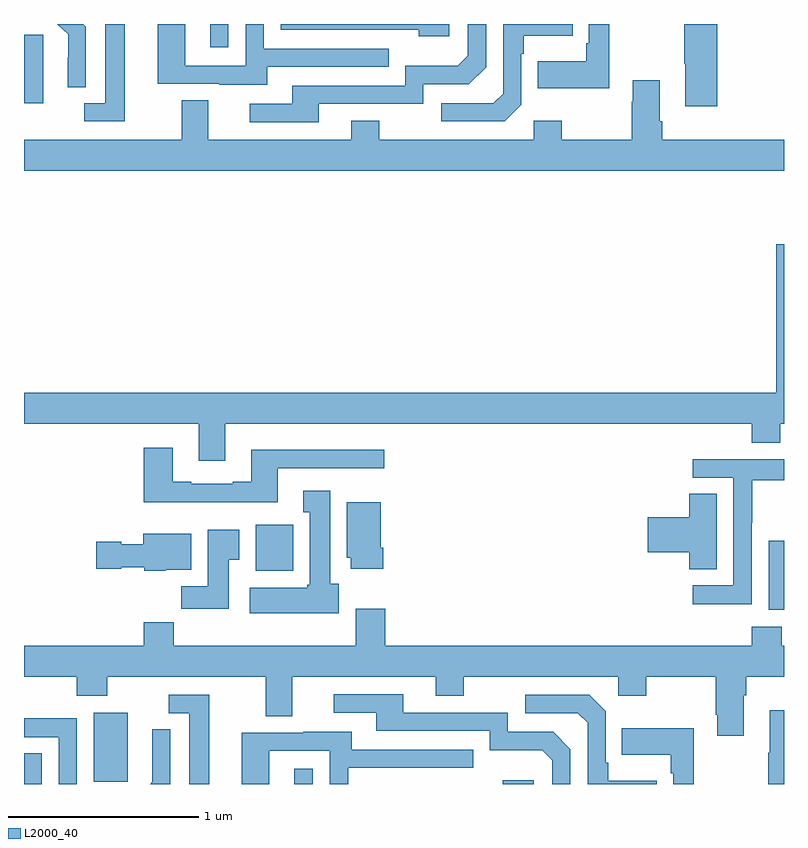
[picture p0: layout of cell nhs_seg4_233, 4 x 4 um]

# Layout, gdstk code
import gdstk
lib = gdstk.Library(unit=1e-6, precision=1e-09)
def R(c, l, rs):  # rectangles x0, y0, x1, y1
    for r in rs: c.add(gdstk.rectangle(r[:2], r[2:], *l))
def P(c, l, *ps):  # polygons
    for p in ps: c.add(gdstk.Polygon(p, *l))
L2000_40 = (2000, 40)

nhs_seg4_233 = lib.new_cell('nhs_seg4_233')
R(nhs_seg4_233, L2000_40, [(121,818.9,121.093,819.062), (122.423,818.9,122.52,818.98), (123.521,818.9,123.682,818.92), (121.367,818.913,121.546,819.274), (124.919,819.818,125,820.179), (122.219,820.022,122.416,820.264), (121,822.482,121.102,822.843), (121.979,822.777,122.076,822.9)])
P(nhs_seg4_233, L2000_40, [(123.238,822.9),(122.352,822.9),(122.352,822.87),(123.077,822.87),(123.077,822.836),(123.238,822.836)],
  [(121.326,822.886),(121.312,822.9),(121.176,822.9),(121.232,822.845),(121.232,822.722),(121.23,822.722),(121.23,822.568),(121.326,822.568)],
  [(121.531,822.9),(121.427,822.9),(121.427,822.483),(121.317,822.483),(121.317,822.387),(121.531,822.387)],
  [(123.618,822.474),(123.618,822.743),(123.631,822.743),(123.631,822.839),(123.887,822.839),(123.887,822.9),(123.522,822.9),(123.522,822.534),(123.471,822.483),(123.195,822.483),(123.195,822.387),(123.531,822.387)],
  [(124.649,822.9),(124.474,822.9),(124.474,822.691),(124.481,822.691),(124.481,822.468),(124.649,822.468)],
  [(122.551,822.48),(123.102,822.48),(123.102,822.582),(123.342,822.582),(123.432,822.672),(123.432,822.9),(123.336,822.9),(123.336,822.732),(123.283,822.679),(123.006,822.679),(123.006,822.576),(122.411,822.576),(122.411,822.48),(122.187,822.48),(122.187,822.384),(122.551,822.384)],
  [(122.281,822.675),(122.921,822.675),(122.921,822.771),(122.262,822.771),(122.262,822.9),(122.166,822.9),(122.166,822.681),(121.848,822.681),(121.848,822.9),(121.703,822.9),(121.703,822.585),(122.027,822.585),(122.027,822.581),(122.281,822.581)],
  [(124.081,822.9),(123.972,822.9),(123.972,822.799),(123.96,822.799),(123.96,822.703),(123.703,822.703),(123.703,822.563),(124.081,822.563)],
  [(125,822.292),(124.358,822.292),(124.358,822.388),(124.345,822.388),(124.345,822.604),(124.205,822.604),(124.205,822.491),(124.198,822.491),(124.198,822.292),(123.831,822.292),(123.831,822.391),(123.684,822.391),(123.684,822.292),(122.871,822.292),(122.871,822.391),(122.723,822.391),(122.723,822.292),(121.969,822.292),(121.969,822.5),(121.829,822.5),(121.829,822.292),(121,822.292),(121,822.128),(125,822.128)],
  [(122.059,820.796),(124.829,820.796),(124.829,820.697),(124.981,820.697),(124.981,820.796),(125,820.796),(125,821.74),(124.958,821.74),(124.958,820.96),(121,820.96),(121,820.796),(121.919,820.796),(121.919,820.602),(122.059,820.602)],
  [(122.335,820.563),(122.896,820.563),(122.896,820.66),(122.195,820.66),(122.195,820.492),(122.099,820.492),(122.099,820.479),(121.879,820.479),(121.879,820.492),(121.783,820.492),(121.783,820.669),(121.631,820.669),(121.631,820.382),(122.335,820.382)],
  [(124.83,820.276),(124.833,820.276),(124.833,820.5),(125,820.5),(125,820.608),(124.521,820.608),(124.521,820.512),(124.734,820.512),(124.734,819.945),(124.521,819.945),(124.521,819.847),(124.83,819.847)],
  [(122.656,819.954),(122.611,819.954),(122.611,820.444),(122.471,820.444),(122.471,820.331),(122.504,820.331),(122.504,819.948),(122.491,819.948),(122.491,819.934),(122.187,819.934),(122.187,819.8),(122.656,819.8)],
  [(124.645,820.427),(124.502,820.427),(124.502,820.304),(124.284,820.304),(124.284,820.121),(124.502,820.121),(124.502,820.03),(124.645,820.03)],
  [(122.891,820.144),(122.878,820.144),(122.878,820.384),(122.699,820.384),(122.699,820.092),(122.72,820.092),(122.72,820.032),(122.891,820.032)],
  [(122.077,820.081),(122.134,820.081),(122.134,820.237),(121.967,820.237),(121.967,819.94),(121.828,819.94),(121.828,819.822),(122.077,819.822)],
  [(121.746,820.028),(121.879,820.028),(121.879,820.216),(121.628,820.216),(121.628,820.162),(121.512,820.162),(121.512,820.175),(121.38,820.175),(121.38,820.033),(121.512,820.033),(121.512,820.04),(121.632,820.04),(121.632,820.022),(121.746,820.022)],
  [(124.789,819.368),(124.802,819.368),(124.802,819.464),(125,819.464),(125,819.628),(124.989,819.628),(124.989,819.727),(124.829,819.727),(124.829,819.628),(122.9,819.628),(122.9,819.823),(122.747,819.823),(122.747,819.628),(121.787,819.628),(121.787,819.752),(121.631,819.752),(121.631,819.628),(121,819.628),(121,819.464),(121.277,819.464),(121.277,819.365),(121.437,819.365),(121.437,819.464),(122.273,819.464),(122.273,819.256),(122.413,819.256),(122.413,819.464),(123.167,819.464),(123.167,819.365),(123.315,819.365),(123.315,819.464),(124.128,819.464),(124.128,819.365),(124.275,819.365),(124.275,819.464),(124.642,819.464),(124.642,819.265),(124.649,819.265),(124.649,819.153),(124.789,819.153)],
  [(123.876,819.084),(123.786,819.174),(123.546,819.174),(123.546,819.276),(122.995,819.276),(122.995,819.372),(122.631,819.372),(122.631,819.276),(122.855,819.276),(122.855,819.18),(123.45,819.18),(123.45,819.077),(123.727,819.077),(123.78,819.024),(123.78,818.9),(123.876,818.9)],
  [(121.975,819.369),(121.761,819.369),(121.761,819.273),(121.871,819.273),(121.871,818.9),(121.975,818.9)],
  [(124.331,818.917),(124.075,818.917),(124.075,819.013),(124.062,819.013),(124.062,819.282),(123.975,819.369),(123.639,819.369),(123.639,819.273),(123.915,819.273),(123.966,819.222),(123.966,818.9),(124.331,818.9)],
  [(125,819.289),(124.925,819.289),(124.925,819.065),(124.918,819.065),(124.918,818.9),(125,818.9)],
  [(121.278,819.246),(121,819.246),(121,819.147),(121.182,819.147),(121.182,818.9),(121.278,818.9)],
  [(124.525,819.193),(124.147,819.193),(124.147,819.053),(124.404,819.053),(124.404,818.957),(124.416,818.957),(124.416,818.9),(124.525,818.9)],
  [(121.77,819.188),(121.674,819.188),(121.674,819.034),(121.676,819.034),(121.676,818.912),(121.664,818.9),(121.77,818.9)],
  [(122.292,819.075),(122.61,819.075),(122.61,818.9),(122.706,818.9),(122.706,818.985),(123.365,818.985),(123.365,819.081),(122.725,819.081),(122.725,819.175),(122.471,819.175),(122.471,819.171),(122.147,819.171),(122.147,818.9),(122.292,818.9)])

lib.write_gds('nhs_seg4_233.gds')
